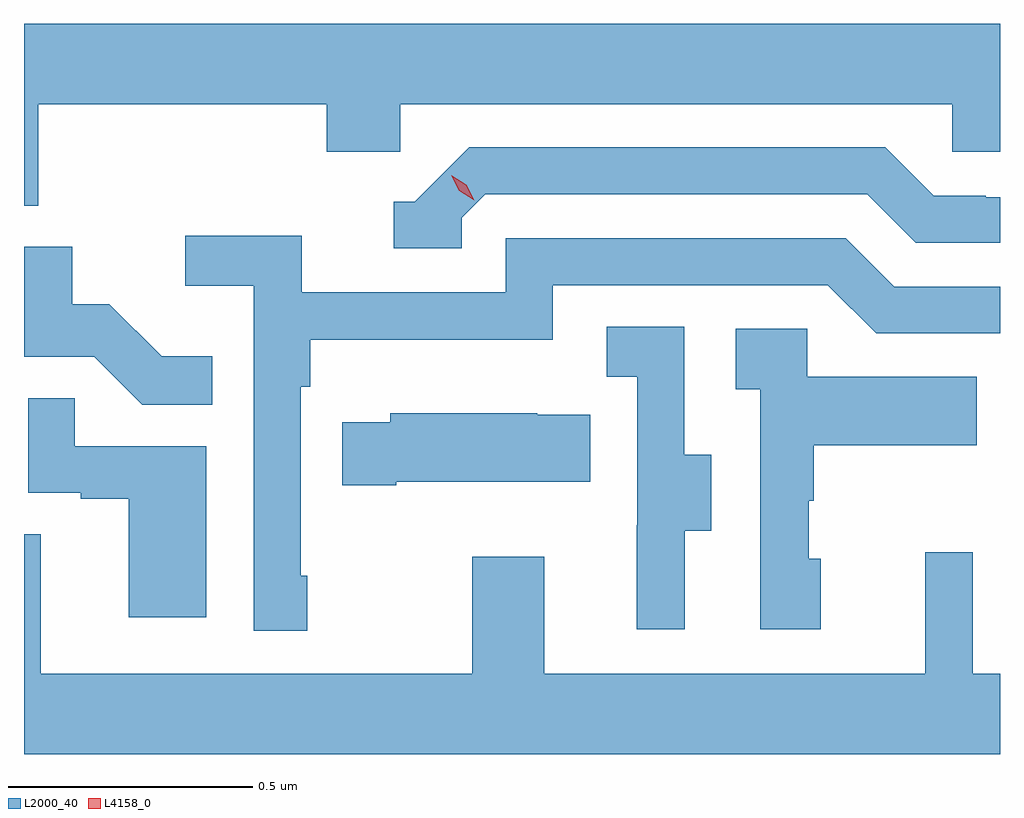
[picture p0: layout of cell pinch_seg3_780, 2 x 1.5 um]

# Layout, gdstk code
import gdstk
lib = gdstk.Library(unit=1e-6, precision=1e-09)
def P(c, l, *ps):  # polygons
    for p in ps: c.add(gdstk.Polygon(p, *l))
L2000_40 = (2000, 40)
L4158_0 = (4158, 0)

pinch_seg3_780 = lib.new_cell('pinch_seg3_780')
P(pinch_seg3_780, L2000_40, [(816.95,730.22),(817.541,730.22),(817.541,730.122),(817.692,730.122),(817.692,730.22),(818.823,730.22),(818.823,730.122),(818.921,730.122),(818.921,730.384),(816.921,730.384),(816.921,730.012),(816.95,730.012)],
  [(817.818,729.987),(817.866,730.035),(818.649,730.035),(818.748,729.936),(818.921,729.936),(818.921,730.029),(818.892,730.029),(818.892,730.032),(818.785,730.032),(818.686,730.131),(817.833,730.131),(817.722,730.02),(817.679,730.02),(817.679,729.924),(817.818,729.924)],
  [(817.501,729.253),(817.488,729.253),(817.488,729.641),(817.508,729.641),(817.508,729.737),(818.004,729.737),(818.004,729.849),(818.568,729.849),(818.667,729.75),(818.921,729.75),(818.921,729.846),(818.704,729.846),(818.605,729.945),(817.908,729.945),(817.908,729.834),(817.49,729.834),(817.49,729.95),(817.251,729.95),(817.251,729.848),(817.392,729.848),(817.392,729.141),(817.501,729.141)],
  [(817.307,729.703),(817.203,729.703),(817.096,729.81),(817.02,729.81),(817.02,729.927),(816.921,729.927),(816.921,729.702),(817.065,729.702),(817.163,729.604),(817.307,729.604)],
  [(818.275,729.346),(818.329,729.346),(818.329,729.501),(818.274,729.501),(818.274,729.764),(818.115,729.764),(818.115,729.661),(818.178,729.661),(818.178,729.357),(818.177,729.357),(818.177,729.144),(818.275,729.144)],
  [(818.554,729.288),(818.529,729.288),(818.529,729.407),(818.539,729.407),(818.539,729.521),(818.873,729.521),(818.873,729.661),(818.526,729.661),(818.526,729.759),(818.379,729.759),(818.379,729.635),(818.43,729.635),(818.43,729.144),(818.554,729.144)],
  [(817.294,729.519),(817.025,729.519),(817.025,729.617),(816.93,729.617),(816.93,729.423),(817.037,729.423),(817.037,729.411),(817.136,729.411),(817.136,729.168),(817.294,729.168)],
  [(817.684,729.446),(818.081,729.446),(818.081,729.583),(817.973,729.583),(817.973,729.586),(817.671,729.586),(817.671,729.568),(817.573,729.568),(817.573,729.439),(817.684,729.439)],
  [(818.921,729.052),(818.865,729.052),(818.865,729.301),(818.768,729.301),(818.768,729.052),(817.987,729.052),(817.987,729.292),(817.84,729.292),(817.84,729.052),(816.955,729.052),(816.955,729.338),(816.921,729.338),(816.921,728.888),(818.921,728.888)])
P(pinch_seg3_780, L4158_0, [(817.844,730.023),(817.813,730.042),(817.796,730.074),(817.796,730.074),(817.796,730.074),(817.827,730.055),(817.844,730.023),(817.844,730.023)])

lib.write_gds('pinch_seg3_780.gds')
